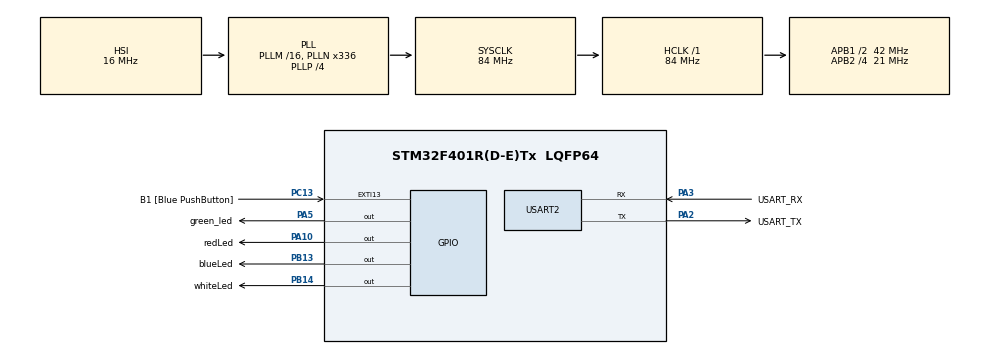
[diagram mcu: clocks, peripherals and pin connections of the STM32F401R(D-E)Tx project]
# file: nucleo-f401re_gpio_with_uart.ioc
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Mcu.Family=STM32F4
Mcu.Name=STM32F401R(D-E)Tx
Mcu.Package=LQFP64
NVIC.PriorityGroup=NVIC_PRIORITYGROUP_0
NVIC.TIM1_UP_TIM10_IRQn=true\:0\:0\:false\:false\:true\:true\:true
NVIC.USART2_IRQn=true\:0\:0\:false\:false\:true\:true\:true
PA10.GPIO_Label=redLed
PA10.Signal=GPIO_Output
PA13.GPIO_Label=TMS
PA13.Mode=Serial_Wire
PA13.Signal=SYS_JTMS-SWDIO
PA14.GPIO_Label=TCK
PA14.Mode=Serial_Wire
PA14.Signal=SYS_JTCK-SWCLK
PA2.GPIO_Label=USART_TX
PA2.GPIO_Mode=GPIO_MODE_AF_PP
PA2.GPIO_PuPd=GPIO_NOPULL
PA2.GPIO_Speed=GPIO_SPEED_FREQ_LOW
PA2.Mode=Asynchronous
PA2.Signal=USART2_TX
PA3.GPIO_Label=USART_RX
PA3.GPIO_Mode=GPIO_MODE_AF_PP
PA3.GPIO_PuPd=GPIO_NOPULL
PA3.GPIO_Speed=GPIO_SPEED_FREQ_LOW
PA3.Mode=Asynchronous
PA3.Signal=USART2_RX
PA5.GPIO_Label=green_led
PA5.Signal=GPIO_Output
PB13.GPIO_Label=blueLed
PB13.Signal=GPIO_Output
PB14.GPIO_Label=whiteLed
PB14.Signal=GPIO_Output
PB3.GPIO_Label=SWO
PB3.Signal=SYS_JTDO-SWO
PC13-ANTI_TAMP.GPIO_Label=B1 [Blue PushButton]
PC13-ANTI_TAMP.GPIO_ModeDefaultEXTI=GPIO_MODE_IT_FALLING
PC13-ANTI_TAMP.GPIO_PuPd=GPIO_NOPULL
PC13-ANTI_TAMP.Signal=GPXTI13
PC14-OSC32_IN.Mode=LSE-External-Oscillator
PC14-OSC32_IN.Signal=RCC_OSC32_IN
PC15-OSC32_OUT.Mode=LSE-External-Oscillator
PC15-OSC32_OUT.Signal=RCC_OSC32_OUT
PH0\ -\ OSC_IN.Mode=HSE-External-Clock-Source
PH0\ -\ OSC_IN.Signal=RCC_OSC_IN
PH1\ -\ OSC_OUT.Mode=HSE-External-Clock-Source
PH1\ -\ OSC_OUT.Signal=RCC_OSC_OUT
ProjectManager.HeapSize=0x200
ProjectManager.StackSize=0x400
ProjectManager.TargetToolchain=STM32CubeIDE
RCC.48MHZClocksFreq_Value=48000000
RCC.AHBFreq_Value=84000000
RCC.APB1CLKDivider=RCC_HCLK_DIV2
RCC.APB1Freq_Value=42000000
RCC.APB1TimFreq_Value=84000000
RCC.APB2CLKDivider=RCC_HCLK_DIV4
RCC.APB2Freq_Value=21000000
RCC.APB2TimFreq_Value=42000000
RCC.CortexFreq_Value=84000000
RCC.HCLKFreq_Value=84000000
RCC.HSE_VALUE=8000000
RCC.HSI_VALUE=16000000
RCC.PLLN=336
RCC.PLLP=RCC_PLLP_DIV4
RCC.PLLQ=7
RCC.SYSCLKFreq_VALUE=84000000
RCC.SYSCLKSource=RCC_SYSCLKSOURCE_PLLCLK
RCC.VCOOutputFreq_Value=336000000
TIM10.Period=10000 -1 
TIM10.Prescaler=2100-1
USART2.VirtualMode=VM_ASYNC
VP_TIM10_VS_ClockSourceINT.Mode=Enable_Timer
board=NUCLEO-F401RE

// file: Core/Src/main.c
/* USER CODE BEGIN Header */
/**
  ******************************************************************************
  * @file           : main.c
  * @brief          : Main program body
  ******************************************************************************
  * @attention
  *
  * <h2><center>&copy; Copyright (c) 2021 STMicroelectronics.
  * All rights reserved.</center></h2>
  *
  * This software component is licensed by ST under BSD 3-Clause license,
  * the "License"; You may not use this file except in compliance with the
  * License. You may obtain a copy of the License at:
  *                        opensource.org/licenses/BSD-3-Clause
  *
  ******************************************************************************
  */
/* USER CODE END Header */
#include "main.h"
#include "tim.h"
#include "usart.h"
#include "gpio.h"

void SystemClock_Config(void);
/* USER CODE BEGIN PFP */
void HAL_UART_RxCpltCallback (UART_HandleTypeDef * huart);
void process_uart_data(uint8_t uFlag,uint8_t uData);
/* USER CODE END PFP */

/* USER CODE BEGIN 0 */
uint8_t rxBuffer[2];

/* USER CODE END 0 */

int main(void)
{

  /* MCU Configuration--------------------------------------------------------*/

  /* Reset of all peripherals, Initializes the Flash interface and the Systick. */
  HAL_Init();

  /* Configure the system clock */
  SystemClock_Config();

  /* Initialize all configured peripherals */
  MX_GPIO_Init();
  MX_USART2_UART_Init();
  MX_TIM10_Init();
  /* USER CODE BEGIN 2 */
  HAL_UART_Receive_IT(&huart2, rxBuffer, 2);
  //HAL_TIM_Base_Start_IT (&htim10);

  /* USER CODE END 2 */

  /* Infinite loop */
  while (1)
  {

    /* USER CODE BEGIN 3 */

	  process_uart_data(rxBuffer[0],rxBuffer[1]);
  }
  /* USER CODE END 3 */
}

void SystemClock_Config(void)
{
  RCC_OscInitTypeDef RCC_OscInitStruct = {0};
  RCC_ClkInitTypeDef RCC_ClkInitStruct = {0};

  /** Configure the main internal regulator output voltage
  */
  __HAL_RCC_PWR_CLK_ENABLE();
  __HAL_PWR_VOLTAGESCALING_CONFIG(PWR_REGULATOR_VOLTAGE_SCALE2);
  /** Initializes the RCC Oscillators according to the specified parameters
  * in the RCC_OscInitTypeDef structure.
  */
  RCC_OscInitStruct.OscillatorType = RCC_OSCILLATORTYPE_HSI;
  RCC_OscInitStruct.HSIState = RCC_HSI_ON;
  RCC_OscInitStruct.HSICalibrationValue = RCC_HSICALIBRATION_DEFAULT;
  RCC_OscInitStruct.PLL.PLLState = RCC_PLL_ON;
  RCC_OscInitStruct.PLL.PLLSource = RCC_PLLSOURCE_HSI;
  RCC_OscInitStruct.PLL.PLLM = 16;
  RCC_OscInitStruct.PLL.PLLN = 336;
  RCC_OscInitStruct.PLL.PLLP = RCC_PLLP_DIV4;
  RCC_OscInitStruct.PLL.PLLQ = 7;
  if (HAL_RCC_OscConfig(&RCC_OscInitStruct) != HAL_OK)
  {
    Error_Handler();
  }
  /** Initializes the CPU, AHB and APB buses clocks
  */
  RCC_ClkInitStruct.ClockType = RCC_CLOCKTYPE_HCLK|RCC_CLOCKTYPE_SYSCLK
                              |RCC_CLOCKTYPE_PCLK1|RCC_CLOCKTYPE_PCLK2;
  RCC_ClkInitStruct.SYSCLKSource = RCC_SYSCLKSOURCE_PLLCLK;
  RCC_ClkInitStruct.AHBCLKDivider = RCC_SYSCLK_DIV1;
  RCC_ClkInitStruct.APB1CLKDivider = RCC_HCLK_DIV2;
  RCC_ClkInitStruct.APB2CLKDivider = RCC_HCLK_DIV4;

  if (HAL_RCC_ClockConfig(&RCC_ClkInitStruct, FLASH_LATENCY_2) != HAL_OK)
  {
    Error_Handler();
  }
}

/* USER CODE BEGIN 4 */

void HAL_UART_RxCpltCallback (UART_HandleTypeDef * huart){

	HAL_UART_Receive_IT(&huart2, rxBuffer, 2);

	if(huart == &huart2){
		HAL_UART_Receive_IT(&huart2, rxBuffer, 2);
	}

}

void process_uart_data(uint8_t uFlag,uint8_t uData){

	if(uFlag == 'A'){
		if(uData == '1'){
			HAL_GPIO_WritePin(redLed_GPIO_Port, redLed_Pin, GPIO_PIN_SET);
		}
		if(uData == '0'){
			HAL_GPIO_WritePin(redLed_GPIO_Port, redLed_Pin, GPIO_PIN_RESET);
		}
	}

	if(uFlag == 'B'){
		if(uData == '1'){
			HAL_GPIO_WritePin(blueLed_GPIO_Port, blueLed_Pin, GPIO_PIN_SET);
		}
		if(uData == '0'){
			HAL_GPIO_WritePin(blueLed_GPIO_Port, blueLed_Pin, GPIO_PIN_RESET);
		}
	}

	if(uFlag == 'C'){
		if(uData == '1'){
			HAL_GPIO_WritePin(whiteLed_GPIO_Port, whiteLed_Pin, GPIO_PIN_SET);
		}
		if(uData == '0'){
			HAL_GPIO_WritePin(whiteLed_GPIO_Port, whiteLed_Pin, GPIO_PIN_RESET);
		}
	}

}

/* USER CODE END 4 */

void Error_Handler(void)
{
  __disable_irq();
  while (1)
  {
  }
}

/************************ (C) COPYRIGHT STMicroelectronics *****END OF FILE****/
